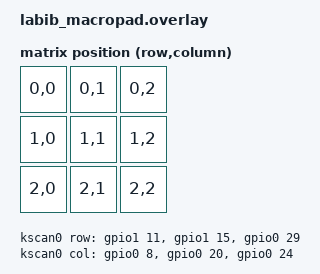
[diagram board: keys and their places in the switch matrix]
#include <dt-bindings/zmk/matrix_transform.h>
#include "labib_macropad-layouts.dtsi"

&zephyr_udc0 {
    cdc_acm_uart0: cdc_acm_uart0 {
        compatible = "zephyr,cdc-acm-uart";
        label = "MACROZ_CDC";
    };
};

&labib_macropad_layout {
    transform = <&default_transform>;
    kscan = <&kscan0>;
};

/ {
    chosen {
        zmk,kscan = &kscan0;
        zmk,physical-layout = &labib_macropad_layout;
    };

    default_transform: keymap_transform_0 {
        compatible = "zmk,matrix-transform";
        columns = <3>;
        rows = <3>;
        map = <
            RC(0,0) RC(0,1) RC(0,2)
            RC(1,0) RC(1,1) RC(1,2)
            RC(2,0) RC(2,1) RC(2,2)
        >;
    };

    kscan0: kscan {
        compatible = "zmk,kscan-gpio-matrix";
        wakeup-source;
        diode-direction = "col2row";

        row-gpios
            = <&gpio1 11 (GPIO_ACTIVE_HIGH | GPIO_PULL_DOWN)>
            , <&gpio1 15 (GPIO_ACTIVE_HIGH | GPIO_PULL_DOWN)>
            , <&gpio0 29 (GPIO_ACTIVE_HIGH | GPIO_PULL_DOWN)>
            ;
        col-gpios
            = <&gpio0 8 GPIO_ACTIVE_HIGH>
            , <&gpio0 20 GPIO_ACTIVE_HIGH>
            , <&gpio0 24 GPIO_ACTIVE_HIGH>
            ;
    };
};
